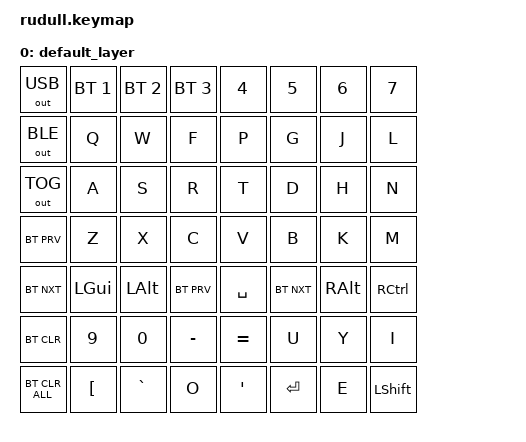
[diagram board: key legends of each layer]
#include <behaviors.dtsi>
#include <dt-bindings/zmk/keys.h>
#include <dt-bindings/zmk/bt.h>
#include <dt-bindings/zmk/outputs.h>

/ {
    keymap {
        compatible = "zmk,keymap";

        default_layer {

            bindings = <
    &out OUT_USB    &bt BT_SEL 1  &bt BT_SEL 2   &bt BT_SEL 3   &kp N4       &kp N5       &kp N6     &kp N7    
    &out OUT_BLE    &kp Q         &kp W          &kp F          &kp P       &kp G       &kp J     &kp L          
    &out OUT_TOG    &kp A         &kp S          &kp R          &kp T       &kp D       &kp H     &kp N              
    &bt BT_PRV      &kp Z         &kp X          &kp C          &kp V       &kp B       &kp K     &kp M           
    &bt BT_NXT      &kp LGUI      &kp LALT       &bt BT_PRV     &kp SPACE   &bt BT_NXT  &kp RALT  &kp RCTRL 
    &bt BT_CLR      &kp 9         &kp 0          &kp MINUS      &kp EQUAL   &kp U       &kp Y     &kp I
    &bt BT_CLR_ALL  &kp LBKT      &kp GRAVE      &kp O          &kp APOS    &kp ENTER   &kp E     &kp LSHIFT
            >;   
        };

    };
};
